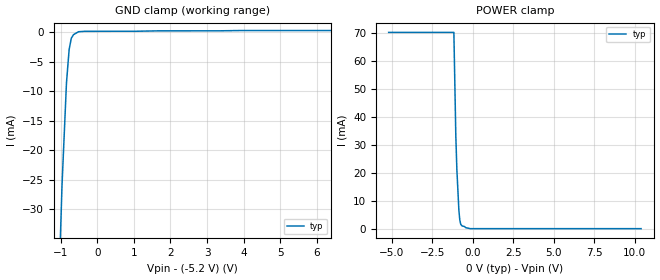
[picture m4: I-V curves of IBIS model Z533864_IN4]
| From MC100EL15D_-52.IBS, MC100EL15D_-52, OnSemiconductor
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| (C) COPYRIGHT 1993-2000
| MENTOR GRAPHICS CORPORATION
| ICX STANDARD LIBRARY, ICX PROJECT MODELING,
| ICX CUSTOM MODELING, ICX VENDOR MODEL
| ALL RIGHTS RESERVED.
| THE FOLLOWING ARE TRADEMARKS OR SERVICE MARKS OF
| MENTOR GRAPHICS CORPORATION:ICX (R), ICX STANDARD
| LIBRARY(R), ICX PROJECT MODELING(R), ICX CUSTOM
| MODELING(R), qualityIBIS(TM), MODELVIEWER(TM),
| AND MODELEDITOR(TM)
| ALL COPIES OF SOFTWARE, INCLUDING BUT NOT LIMITED TO
| ANY MODIFICATIONS, ENHANCEMENTS OR DERIVATIVE WORKS,
| MUST CONTAIN ALL MENTOR GRAPHICS CORPORATION'S
| NOTICES AND LEGENDS, INCLUDING THOSE EMBEDDED IN
| SOFTWARE AND THOSE AFFIXED TO SOFTWARE MEDIUM
| AND CONTAINER, AS RECEIVED FROM MENTOR GRAPHICS
| CORPORATION.
| Model Application Version 1.89 2/18/99.
[Model] Z533864_IN4
Model_type Input_ECL
Vinl = -1.475V
Vinh = -1.165V
C_comp 2.000pF NA NA
| variable typ   min   max
[Voltage Range] -5.200V NA NA
[GND Clamp Reference] -5.200V NA NA
[POWER Clamp Reference] 0.000V NA NA
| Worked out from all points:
|   GND clamp passes 1 mA (typ) near -0.71 V on its own axis
|   POWER clamp passes 1 mA (typ) near -0.67 V on its own axis
[GND Clamp]
-5.2V     -228.5mA   NA         NA
-1.064V   -45.14mA   NA         NA
-967mV    -25.86mA   NA         NA
-845mV    -8.513mA   NA         NA
-772mV    -2.912mA   NA         NA
-713mV    -1.035mA   NA         NA
-654mV    -426.3uA   NA         NA
-513mV    73.62uA    NA         NA
3.934V    273.5uA    NA         NA
10.4V     273.5uA    NA         NA
[POWER Clamp]
-5.2V     70.26mA    NA         NA
-1.17V    70.26mA    NA         NA
-1.05V    33.3mA     NA         NA
-985mV    21.15mA    NA         NA
-859.4mV  6.436mA    NA         NA
-803.2mV  3.045mA    NA         NA
-747.1mV  1.599mA    NA         NA
-664.1mV  959.5uA    NA         NA
-153.5mV  0A         NA         NA
10.4V     0A         NA         NA
